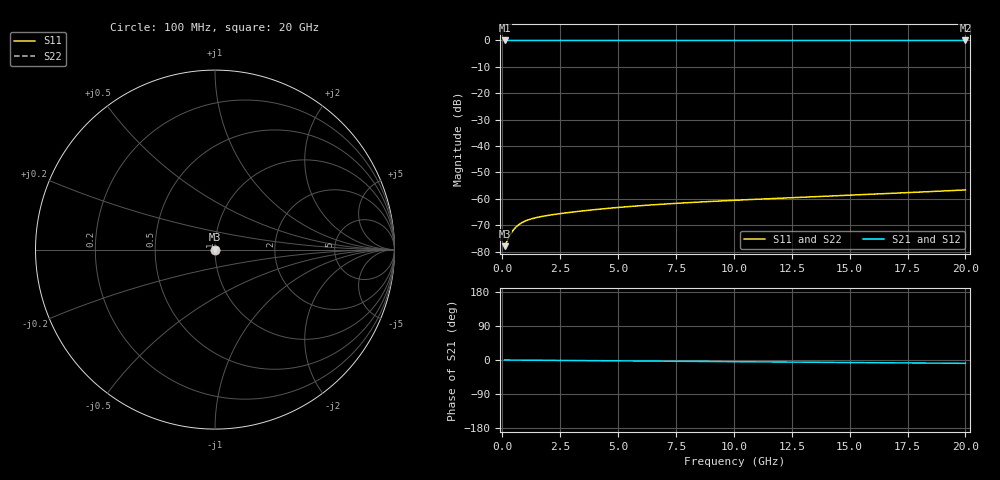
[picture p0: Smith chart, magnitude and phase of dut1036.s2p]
! Touchstone file exported from HFSS 2026.1.0
!  File:  C:/ffzhzh/LocalFiles/Ansys_Project_Files/temp_train_TSV_1036_1783189175_55132.aedt
!  Generated:  02:21:04 AM Jul  5, 2026
!  Design:  TSV
!  Project:  temp_train_TSV_1036_1783189175_55132
! Variables:
!  h_bsmrdl = 2um
!  h_ox = 20um
!  h_rdl = 5um
!  h_sub = 89.52um
!  h_tmrdl = 5um
!  h_tsv = 89.52um
!  h_via = 3um
!  l_bsmrdl = 300um
!  l_sub = 422.16um
!  l_tmrdl = 200um
!  m_sub = 200um
!  pitch = 44.56um
!  r_tsv = 11.08um
!  s_tmrdl = 10um
!  w_bsmrdl = 18um
!  w_sub = 500um
!  w_tmrdl = 12um
!  x_tsv_center1 = 206um
!  x_tsv_center2 = 524um
!  x_tsv_center3 = 736um
!  x_tsv_center4 = 1054um
!  x_tsv_center5 = 1266um
!  x_tsv_center6 = 1584um
# GHz S MA R 50.000000
! Terminal data exported
! Port[1] = TSV1_1_T1
! Port[2] = TSV1_1_T2
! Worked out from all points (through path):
!   200 points, 100 MHz to 20 GHz, reference 50 ohm
!   highest |S21| = 0.00 dB at 100 MHz (marker M1); lowest = 0.0 dB at 20 GHz (marker M2)
!   group delay of S21, straight-line fit = 1.22 ps
!   lowest |S11| = -77.9 dB at 100 MHz (marker M3), VSWR 1.00, Z = 50 + j0.00436 ohm
!   |S11| at or under -10 dB: start of sweep to end of sweep
!   |S22| runs from -77.9 to -56.6 dB; largest |S21 - S12| = 4.8e-15
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0.1  0.0001271 20.0  0.9999 -0.0  0.9999 -0.0  0.0001271 20.0
! Gamma 0 0 0 0
! Port Impedance 50 0 50 0
0.3  0.0001936 37.9  0.9998 -0.1  0.9998 -0.1  0.0001936 37.9
0.4  0.0002303 39.8  0.9998 -0.2  0.9998 -0.2  0.0002303 39.8
0.5  0.0002644 39.8  0.9998 -0.2  0.9998 -0.2  0.0002644 39.8
0.6  0.0002947 39.0  0.9998 -0.3  0.9998 -0.3  0.0002947 39.0
0.7  0.0003213 37.8  0.9997 -0.3  0.9997 -0.3  0.0003213 37.8
0.8  0.0003444 36.4  0.9997 -0.4  0.9997 -0.4  0.0003444 36.4
1  0.0003819 33.8  0.9997 -0.5  0.9997 -0.5  0.0003819 33.8
1.1  0.0003974 32.6  0.9997 -0.5  0.9997 -0.5  0.0003973 32.6
1.3  0.0004234 30.5  0.9996 -0.6  0.9996 -0.6  0.0004234 30.5
1.5  0.000445 28.8  0.9996 -0.7  0.9996 -0.7  0.000445 28.8
1.8  0.0004724 26.9  0.9996 -0.8  0.9996 -0.8  0.0004723 26.9
2.5  0.0005257 23.6  0.9995 -1.1  0.9995 -1.1  0.0005257 23.6
3.5  0.0005937 20.0  0.9994 -1.6  0.9994 -1.6  0.0005937 20.0
4.3  0.0006451 17.1  0.9994 -1.9  0.9994 -1.9  0.000645 17.1
5.1  0.0006936 14.1  0.9993 -2.3  0.9993 -2.3  0.0006935 14.1
6.8  0.0007872 7.3  0.9992 -3.0  0.9992 -3.0  0.0007871 7.3
8.3  0.000861 1.4  0.9991 -3.7  0.9991 -3.7  0.0008608 1.4
10.1  0.0009435 -5.2  0.9991 -4.5  0.9991 -4.5  0.0009431 -5.2
13.4  0.001094 -16.2  0.9989 -5.9  0.9989 -5.9  0.001094 -16.2
16.7  0.001265 -25.8  0.9988 -7.4  0.9988 -7.4  0.001264 -25.8
20  0.001477 -34.4  0.9987 -8.8  0.9987 -8.8  0.001476 -34.4
